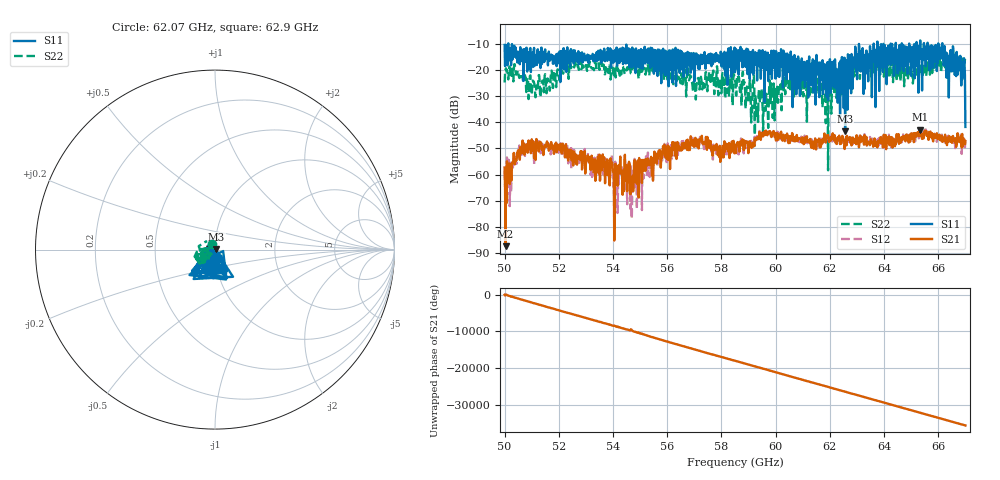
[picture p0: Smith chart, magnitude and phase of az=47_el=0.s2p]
!Created with skrf (http://scikit-rf.org).
# GHz S RI R 50.0
!freq ReS11 ImS11 ReS21 ImS21 ReS12 ImS12 ReS22 ImS22
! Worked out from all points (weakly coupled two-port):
!   1001 points, 50 GHz to 67 GHz, reference 50 ohm
!   highest |S21| = -42.80 dB at 65.32 GHz (marker M1); lowest = -87.4 dB at 50.03 GHz (marker M2)
!   lowest |S11| = -43.5 dB at 62.56 GHz (marker M3), VSWR 1.01, Z = 50.7 + j0.0934 ohm
!   |S11| at or under -10 dB: 50.14 GHz to 63.07 GHz (12.94 GHz wide, 22.9 % of centre); 63.07 GHz to 63.62 GHz (543.6 MHz wide, 0.858 % of centre); 66.15 GHz to end of sweep (the widest 3 of 16)
!   |S22| runs from -58.4 to -14.1 dB; largest |S21 - S12| = 0.0024
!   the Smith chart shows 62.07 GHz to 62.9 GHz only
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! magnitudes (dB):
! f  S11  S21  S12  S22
! 50 GHz  -10.4  -57.3  -58.7  -24.8
! 50.03 GHz  -13.3  -87.4  -68.7  -19.8
! 50.92 GHz  -19.5  -50.0  -50.2  -24.0
! 52.84 GHz  -14.6  -51.1  -51.7  -19.7
! 54.73 GHz  -13.2  -60.7  -57.9  -18.3
! 55.68 GHz  -14.0  -51.4  -52.4  -21.9
! 56.63 GHz  -17.2  -47.9  -48.5  -20.4
! 58.5 GHz  -20.8  -48.9  -49.3  -24.2
! 59.13 GHz  -15.9  -48.1  -48.5  -37.0
! 59.32 GHz  -24.0  -46.0  -45.3  -34.2
! 60.64 GHz  -14.9  -45.8  -47.1  -21.8
! 61.34 GHz  -23.9  -47.9  -47.8  -25.3
! 62 GHz  -15.8  -46.0  -46.1  -24.9
! 62.56 GHz  -43.5  -47.7  -47.5  -19.9
! 63.01 GHz  -23.5  -47.1  -45.7  -20.2
! 63.33 GHz  -21.3  -47.0  -47.2  -19.0
! 64.18 GHz  -17.6  -45.4  -44.7  -18.8
! 65.32 GHz  -12.4  -42.8  -43.9  -18.3
! 66.08 GHz  -15.6  -45.6  -46.6  -15.8
! 66.75 GHz  -20.3  -46.8  -46.2  -17.9
! 66.9 GHz  -17.0  -49.4  -47.1  -15.1
! 67 GHz  -41.8  -47.2  -46.6  -15.4
